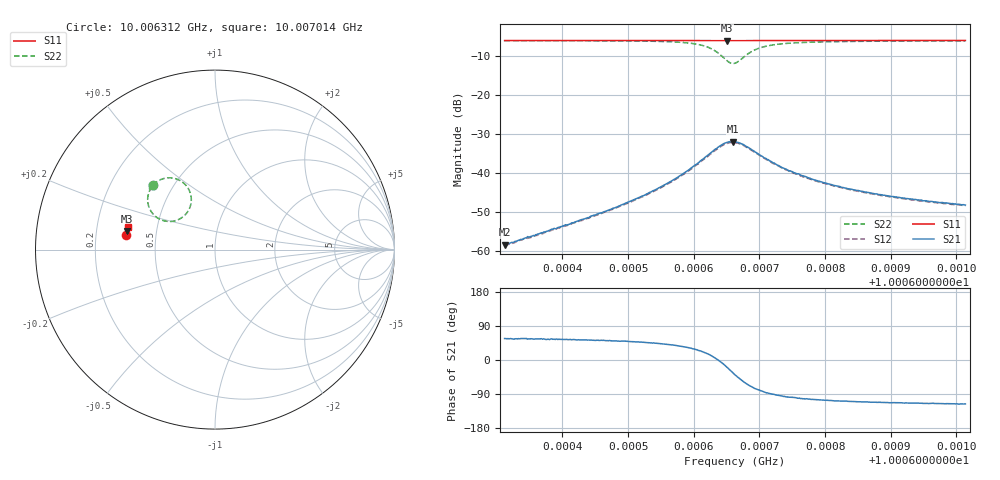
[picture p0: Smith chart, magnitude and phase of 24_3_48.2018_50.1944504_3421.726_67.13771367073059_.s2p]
#  HZ  S  RI  R  50.00
! Rohde & Schwarz Vector Network Analyzer
! Rohde-Schwarz,ZNB20-2Port,1311601062101988,3.16
! Created: UTC 3/20/2024, 11:37:05 AM
! freq[Hz]  re:S11  im:S11  re:S21  im:S21  re:S12  im:S12  re:S22  im:S22
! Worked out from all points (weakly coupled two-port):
!   401 points, 10.006312 GHz to 10.007014 GHz, reference 50 ohm
!   highest |S21| = -31.86 dB at 10.006659 GHz (marker M1); lowest = -58.3 dB at 10.006312 GHz (marker M2)
!   lowest |S11| = -6.0 dB at 10.00665 GHz (marker M3), VSWR 3.00, Z = 16.8 + j4.66 ohm
!   |S11| at or under -10 dB: nowhere
!   |S22| runs from -11.9 to -6.0 dB; largest |S21 - S12| = 0.0019
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1.00063119e10  -0.4954 0.0825  0.000669 0.00102  0.000584 0.001  -0.3468 0.3604
1.00063277e10  -0.4953 0.0834  0.000754 0.00111  0.000635 0.00113  -0.3451 0.3618
1.00064295e10  -0.4942 0.0901  0.00153 0.00205  0.00138 0.00205  -0.3311 0.3736
1.00064838e10  -0.4937 0.0938  0.00239 0.00285  0.00221 0.00293  -0.3185 0.382
1.00065259e10  -0.493 0.0966  0.00365 0.00381  0.00341 0.0039  -0.3025 0.3902
1.0006547e10  -0.4928 0.0981  0.00469 0.00447  0.00438 0.00457  -0.2902 0.3947
1.00065821e10  -0.4921 0.1005  0.00782 0.00562  0.00738 0.00583  -0.2566 0.4
1.00066137e10  -0.4911 0.1026  0.014 0.00557  0.0134 0.00594  -0.1976 0.3862
1.00066312e10  -0.4903 0.1036  0.0197 0.00222  0.019 0.00315  -0.1517 0.3444
1.00066417e10  -0.4897 0.1038  0.0227 -0.00248  0.0221 -0.0011  -0.1331 0.2942
1.00066505e10  -0.4893 0.1038  0.0235 -0.00811  0.0231 -0.00664  -0.138 0.2404
1.00066593e10  -0.4894 0.1037  0.0214 -0.0139  0.0216 -0.0123  -0.1693 0.1904
1.00066628e10  -0.4894 0.1039  0.0196 -0.016  0.0202 -0.0143  -0.188 0.1758
1.00066733e10  -0.4898 0.104  0.014 -0.0191  0.0148 -0.0181  -0.2501 0.1566
1.00066856e10  -0.4903 0.1047  0.0076 -0.0193  0.00841 -0.0184  -0.3089 0.1698
1.00067066e10  -0.4907 0.1061  0.00161 -0.0158  0.00238 -0.0155  -0.358 0.216
1.00067417e10  -0.4906 0.1088  -0.0014 -0.011  -0.00077 -0.011  -0.3747 0.2703
1.00067803e10  -0.4905 0.1115  -0.002 -0.00814  -0.00157 -0.00807  -0.3728 0.3014
1.00068329e10  -0.4899 0.115  -0.00204 -0.00608  -0.00176 -0.00606  -0.3664 0.3237
1.00068978e10  -0.489 0.1192  -0.00197 -0.00469  -0.00168 -0.00469  -0.359 0.3392
1.00069592e10  -0.4881 0.1231  -0.00182 -0.00395  -0.00161 -0.00395  -0.353 0.3486
1.00070136e10  -0.4873 0.1266  -0.00171 -0.00351  -0.00152 -0.00353  -0.3484 0.355
